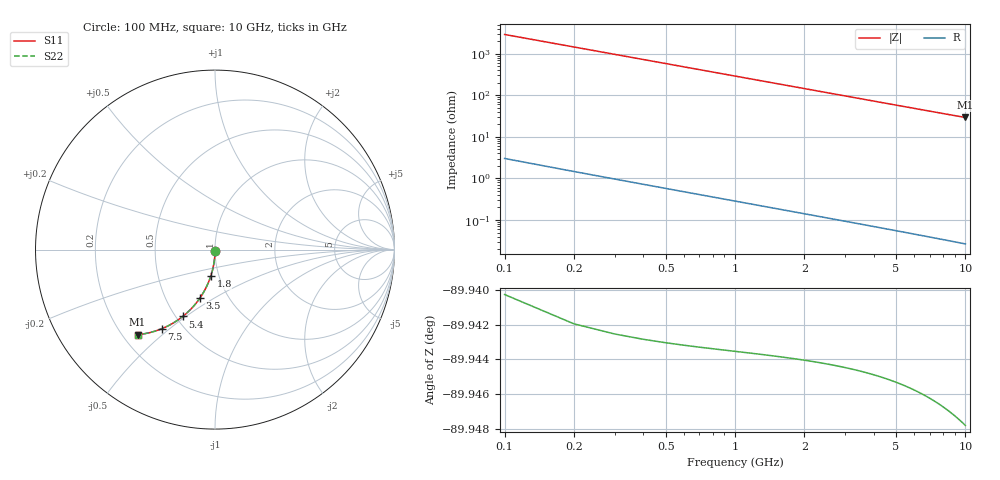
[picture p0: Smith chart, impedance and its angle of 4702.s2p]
# Hz S RI R 50.00
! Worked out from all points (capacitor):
!   100 points, 100 MHz to 10 GHz, reference 50 ohm
!   read as one part in shunt: C = 550 fF near 100 MHz
!   lowest |Z| = 29.2 ohm at 10 GHz (marker M1)
!   S11 on the Smith chart (normalised r, x): 100 MHz: 1.00, -0.02; 1.8 GHz: 0.91, -0.28; 3.5 GHz: 0.74, -0.43; 5.4 GHz: 0.54, -0.49; 7.5 GHz: 0.38, -0.47; 10 GHz: 0.26, -0.42
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1e8  1.01e-05 -0.00843  0.9998 -0.00884  0.9998 -0.00884  1.01e-05 -0.00843
2e8  -0.000221 -0.0169  0.9996 -0.0177  0.9996 -0.0177  -0.000221 -0.0169
3e8  -0.000602 -0.0253  0.9992 -0.0265  0.9992 -0.0265  -0.000602 -0.0253
4e8  -0.00113 -0.0337  0.9987 -0.0353  0.9987 -0.0353  -0.00113 -0.0337
5e8  -0.00181 -0.0421  0.998 -0.0441  0.998 -0.0441  -0.00181 -0.0421
6e8  -0.00263 -0.0504  0.9972 -0.0529  0.9972 -0.0529  -0.00263 -0.0504
8e8  -0.00472 -0.0671  0.9951 -0.0704  0.9951 -0.0704  -0.00472 -0.0671
1.1e9  -0.00894 -0.0919  0.9909 -0.0964  0.9909 -0.0964  -0.00894 -0.0919
1.4e9  -0.0144 -0.1163  0.9854 -0.1221  0.9854 -0.1221  -0.0144 -0.1163
1.8e9  -0.0236 -0.1481  0.9761 -0.1555  0.9761 -0.1555  -0.0236 -0.1481
2.1e9  -0.0319 -0.1713  0.9678 -0.18  0.9678 -0.18  -0.0319 -0.1713
2.5e9  -0.0447 -0.2012  0.9551 -0.2115  0.9551 -0.2115  -0.0447 -0.2012
2.9e9  -0.0592 -0.2298  0.9405 -0.2418  0.9405 -0.2418  -0.0592 -0.2298
3.4e9  -0.0797 -0.2635  0.92 -0.2775  0.92 -0.2775  -0.0797 -0.2635
3.5e9  -0.084 -0.2699  0.9157 -0.2844  0.9157 -0.2844  -0.084 -0.2699
4.3e9  -0.1217 -0.3178  0.8779 -0.3356  0.8779 -0.3356  -0.1217 -0.3178
5.1e9  -0.1633 -0.3588  0.8362 -0.3799  0.8362 -0.3799  -0.1633 -0.3588
5.4e9  -0.1796 -0.3724  0.8199 -0.3948  0.8199 -0.3948  -0.1796 -0.3724
6.7e9  -0.2526 -0.4202  0.7468 -0.4481  0.7468 -0.4481  -0.2526 -0.4202
7.5e9  -0.2978 -0.4413  0.7015 -0.4726  0.7015 -0.4726  -0.2978 -0.4413
8.4e9  -0.3478 -0.4583  0.6514 -0.4934  0.6514 -0.4934  -0.3478 -0.4583
1e10  -0.4314 -0.4739  0.5675 -0.5158  0.5675 -0.5158  -0.4314 -0.4739
